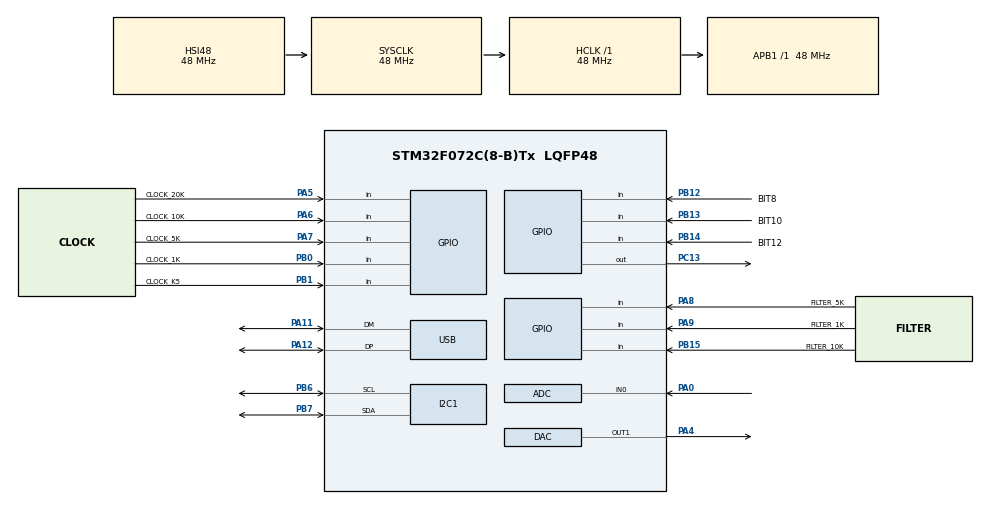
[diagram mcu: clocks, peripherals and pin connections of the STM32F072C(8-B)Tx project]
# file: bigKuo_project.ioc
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ADC.ClockPrescaler=ADC_CLOCK_SYNC_PCLK_DIV4
ADC.ContinuousConvMode=ENABLE
ADC.DMAContinuousRequests=DISABLE
ADC.DataAlign=ADC_DATAALIGN_RIGHT
ADC.DiscontinuousConvMode=DISABLE
ADC.EOCSelection=ADC_EOC_SINGLE_SEQ_CONV
ADC.EnableAnalogWatchDog=false
ADC.ExternalTrigConv=ADC_SOFTWARE_START
ADC.ExternalTrigConvEdge=ADC_EXTERNALTRIGCONVEDGE_NONE
ADC.LowPowerAutoPowerOff=DISABLE
ADC.LowPowerAutoWait=DISABLE
ADC.Overrun=ADC_OVR_DATA_OVERWRITTEN
ADC.Resolution=ADC_RESOLUTION_12B
ADC.SamplingTime=ADC_SAMPLETIME_239CYCLES_5
ADC.ScanConvMode=ADC_SCAN_DIRECTION_FORWARD
Dma.ADC.1.Direction=DMA_PERIPH_TO_MEMORY
Dma.ADC.1.Instance=DMA1_Channel1
Dma.ADC.1.MemDataAlignment=DMA_MDATAALIGN_HALFWORD
Dma.ADC.1.MemInc=DMA_MINC_ENABLE
Dma.ADC.1.Mode=DMA_NORMAL
Dma.ADC.1.PeriphDataAlignment=DMA_PDATAALIGN_HALFWORD
Dma.ADC.1.PeriphInc=DMA_PINC_DISABLE
Dma.ADC.1.Priority=DMA_PRIORITY_LOW
Dma.DAC_CH1.0.Direction=DMA_MEMORY_TO_PERIPH
Dma.DAC_CH1.0.Instance=DMA1_Channel3
Dma.DAC_CH1.0.MemDataAlignment=DMA_MDATAALIGN_HALFWORD
Dma.DAC_CH1.0.MemInc=DMA_MINC_ENABLE
Dma.DAC_CH1.0.Mode=DMA_NORMAL
Dma.DAC_CH1.0.PeriphDataAlignment=DMA_PDATAALIGN_HALFWORD
Dma.DAC_CH1.0.PeriphInc=DMA_PINC_DISABLE
Dma.DAC_CH1.0.Priority=DMA_PRIORITY_LOW
Dma.Request0=DAC_CH1
Dma.Request1=ADC
I2C1.Timing=0x2000090E
Mcu.Family=STM32F0
Mcu.Name=STM32F072C(8-B)Tx
Mcu.Package=LQFP48
NVIC.ADC1_COMP_IRQn=true\:0\:0\:false\:false\:true
NVIC.DMA1_Channel1_IRQn=true\:0\:0\:false\:false\:true
NVIC.DMA1_Channel2_3_IRQn=true\:0\:0\:false\:false\:true
NVIC.TIM6_DAC_IRQn=true\:0\:0\:false\:false\:true
NVIC.USB_IRQn=true\:0\:0\:false\:false\:true
PA0.Mode=IN0
PA0.Signal=ADC_IN0
PA11.Mode=Device
PA11.Signal=USB_DM
PA12.Mode=Device
PA12.Signal=USB_DP
PA13.Mode=Serial_Wire
PA13.Signal=SYS_SWDIO
PA14.Mode=Serial_Wire
PA14.Signal=SYS_SWCLK
PA4.Signal=COMP_DAC1_group
PA5.GPIO_Label=CLOCK_20K
PA5.GPIO_PuPd=GPIO_PULLDOWN
PA5.Signal=GPIO_Input
PA6.GPIO_Label=CLOCK_10K
PA6.GPIO_PuPd=GPIO_PULLDOWN
PA6.Signal=GPIO_Input
PA7.GPIO_Label=CLOCK_5K
PA7.GPIO_PuPd=GPIO_PULLDOWN
PA7.Signal=GPIO_Input
PA8.GPIO_Label=FILTER_5K
PA8.GPIO_PuPd=GPIO_PULLDOWN
PA8.Signal=GPIO_Input
PA9.GPIO_Label=FILTER_1K
PA9.GPIO_PuPd=GPIO_PULLDOWN
PA9.Signal=GPIO_Input
PB0.GPIO_Label=CLOCK_1K
PB0.GPIO_PuPd=GPIO_PULLDOWN
PB0.Signal=GPIO_Input
PB1.GPIO_Label=CLOCK_K5
PB1.GPIO_PuPd=GPIO_PULLDOWN
PB1.Signal=GPIO_Input
PB12.GPIO_Label=BIT8
PB12.GPIO_PuPd=GPIO_PULLDOWN
PB12.Signal=GPIO_Input
PB13.GPIO_Label=BIT10
PB13.GPIO_PuPd=GPIO_PULLDOWN
PB13.Signal=GPIO_Input
PB14.GPIO_Label=BIT12
PB14.GPIO_PuPd=GPIO_PULLDOWN
PB14.Signal=GPIO_Input
PB15.GPIO_Label=FILTER_10K
PB15.GPIO_PuPd=GPIO_PULLDOWN
PB15.Signal=GPIO_Input
PB6.Mode=I2C
PB6.Signal=I2C1_SCL
PB7.Mode=I2C
PB7.Signal=I2C1_SDA
PC13.Signal=GPIO_Output
PF0-OSC_IN.Mode=HSE-External-Oscillator
PF0-OSC_IN.Signal=RCC_OSC_IN
PF1-OSC_OUT.Mode=HSE-External-Oscillator
PF1-OSC_OUT.Signal=RCC_OSC_OUT
ProjectManager.HeapSize=0x200
ProjectManager.StackSize=0x400
ProjectManager.TargetToolchain=MDK-ARM V5
RCC.AHBCLKDivider=RCC_SYSCLK_DIV1
RCC.AHBFreq_Value=48000000
RCC.APB1CLKDivider=RCC_HCLK_DIV1
RCC.APB1Freq_Value=48000000
RCC.APB1TimFreq_Value=48000000
RCC.HCLKFreq_Value=48000000
RCC.OscillatorTypeHSI14=RCC_OSCILLATORTYPE_HSI14
RCC.PLLSourceVirtual=RCC_PLLSOURCE_HSI
RCC.SYSCLKFreq_VALUE=48000000
RCC.SYSCLKSource=RCC_SYSCLKSOURCE_HSI48
SH.COMP_DAC1_group.0=DAC_OUT1,DAC_OUT1
USB_DEVICE.CLASS_NAME_FS=CDC
USB_DEVICE.VirtualMode=Cdc
USB_DEVICE.VirtualModeFS=Cdc_FS
VP_USB_DEVICE_VS_USB_DEVICE_CDC_FS.Mode=CDC_FS
board=bigKuo_project

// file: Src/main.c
/**
  ******************************************************************************
  * File Name          : main.c
  * Description        : Main program body
  ******************************************************************************
  *
  * Copyright (c) 2017 STMicroelectronics International N.V.
  * All rights reserved.
  *
  * Redistribution and use in source and binary forms, with or without
  * modification, are permitted, provided that the following conditions are met:
  *
  * 1. Redistribution of source code must retain the above copyright notice,
  *    this list of conditions and the following disclaimer.
  * 2. Redistributions in binary form must reproduce the above copyright notice,
  *    this list of conditions and the following disclaimer in the documentation
  *    and/or other materials provided with the distribution.
  * 3. Neither the name of STMicroelectronics nor the names of other
  *    contributors to this software may be used to endorse or promote products
  *    derived from this software without specific written permission.
  * 4. This software, including modifications and/or derivative works of this
  *    software, must execute solely and exclusively on microcontroller or
  *    microprocessor devices manufactured by or for STMicroelectronics.
  * 5. Redistribution and use of this software other than as permitted under
  *    this license is void and will automatically terminate your rights under
  *    this license.
  *
  * THIS SOFTWARE IS PROVIDED BY STMICROELECTRONICS AND CONTRIBUTORS "AS IS"
  * AND ANY EXPRESS, IMPLIED OR STATUTORY WARRANTIES, INCLUDING, BUT NOT
  * LIMITED TO, THE IMPLIED WARRANTIES OF MERCHANTABILITY, FITNESS FOR A
  * PARTICULAR PURPOSE AND NON-INFRINGEMENT OF THIRD PARTY INTELLECTUAL PROPERTY
  * RIGHTS ARE DISCLAIMED TO THE FULLEST EXTENT PERMITTED BY LAW. IN NO EVENT
  * SHALL STMICROELECTRONICS OR CONTRIBUTORS BE LIABLE FOR ANY DIRECT, INDIRECT,
  * INCIDENTAL, SPECIAL, EXEMPLARY, OR CONSEQUENTIAL DAMAGES (INCLUDING, BUT NOT
  * LIMITED TO, PROCUREMENT OF SUBSTITUTE GOODS OR SERVICES; LOSS OF USE, DATA,
  * OR PROFITS; OR BUSINESS INTERRUPTION) HOWEVER CAUSED AND ON ANY THEORY OF
  * LIABILITY, WHETHER IN CONTRACT, STRICT LIABILITY, OR TORT (INCLUDING
  * NEGLIGENCE OR OTHERWISE) ARISING IN ANY WAY OUT OF THE USE OF THIS SOFTWARE,
  * EVEN IF ADVISED OF THE POSSIBILITY OF SUCH DAMAGE.
  *
  ******************************************************************************
  */
#include "main.h"
#include "stm32f0xx_hal.h"
#include "adc.h"
#include "dac.h"
#include "dma.h"
#include "i2c.h"
#include "usb_device.h"
#include "gpio.h"

/* USER CODE BEGIN Includes */
#include "usbd_cdc_if.h"
#include "key.h"
/* USER CODE END Includes */

/* USER CODE BEGIN PV */
/* Private variables ---------------------------------------------------------*/

/* USER CODE END PV */

void SystemClock_Config(void);
void Error_Handler(void);

/* USER CODE BEGIN PFP */
/* Private function prototypes -----------------------------------------------*/

/* USER CODE END PFP */

/* USER CODE BEGIN 0 */
uint16_t ADCReadings[2]; //ADC Readings
uint16_t ADCReadings_Bitshift; //ADC Readings
uint16_t ADCReadings_Filter; //ADC Readings
/* USER CODE END 0 */

int main(void)
{

  /* MCU Configuration----------------------------------------------------------*/

  /* Reset of all peripherals, Initializes the Flash interface and the Systick. */
  HAL_Init();

  /* Configure the system clock */
  SystemClock_Config();

  /* Initialize all configured peripherals */
  MX_GPIO_Init();
  MX_DMA_Init();
  MX_USB_DEVICE_Init();
  MX_ADC_Init();
  MX_DAC_Init();
  MX_I2C1_Init();

  /* USER CODE BEGIN 2 */
	char kMsg[200];
	uint8_t Key_mode = 0;

  /* USER CODE END 2 */

  /* Infinite loop */
  /* USER CODE BEGIN WHILE */
  while (1)
  {
		Key_mode = KEY_Scan(&ADC_Setting, 1);

		HAL_ADC_Start_DMA(&hadc, (uint32_t*) ADCReadings, 2);//start the DMA collecting the data
		ADCReadings_Bitshift = ADC_Bitshift(&ADC_Setting, (uint16_t)ADCReadings[0]);
		ADCReadings_Filter	 = ADC_Filter_Output(&ADC_Setting , ADCReadings_Bitshift);

		sprintf(kMsg,"A:%d, %d, %d M: %d %d %d %d\n", ADCReadings[0], ADCReadings_Bitshift, ADCReadings_Filter,
															Key_mode, ADC_Setting.ADC_clock, ADC_Setting.ADC_bit, ADC_Setting.ADC_filter);
		if(hUsbDeviceFS.dev_state == USBD_STATE_CONFIGURED) {CDC_Transmit_FS((uint8_t *)kMsg, strlen(kMsg));}
		HAL_Delay(500);
		HAL_GPIO_TogglePin(GPIOC, GPIO_PIN_13);
  /* USER CODE END WHILE */

  }

}

/** System Clock Configuration
*/
void SystemClock_Config(void)
{

  RCC_OscInitTypeDef RCC_OscInitStruct;
  RCC_ClkInitTypeDef RCC_ClkInitStruct;
  RCC_PeriphCLKInitTypeDef PeriphClkInit;

    /**Initializes the CPU, AHB and APB busses clocks
    */
  RCC_OscInitStruct.OscillatorType = RCC_OSCILLATORTYPE_HSI|RCC_OSCILLATORTYPE_HSI14
                              |RCC_OSCILLATORTYPE_HSI48;
  RCC_OscInitStruct.HSIState = RCC_HSI_ON;
  RCC_OscInitStruct.HSI48State = RCC_HSI48_ON;
  RCC_OscInitStruct.HSICalibrationValue = 16;
  RCC_OscInitStruct.PLL.PLLState = RCC_PLL_NONE;
  if (HAL_RCC_OscConfig(&RCC_OscInitStruct) != HAL_OK)
  {
    Error_Handler();
  }

    /**Initializes the CPU, AHB and APB busses clocks
    */
  RCC_ClkInitStruct.ClockType = RCC_CLOCKTYPE_HCLK|RCC_CLOCKTYPE_SYSCLK
                              |RCC_CLOCKTYPE_PCLK1;
  RCC_ClkInitStruct.SYSCLKSource = RCC_SYSCLKSOURCE_HSI48;
  RCC_ClkInitStruct.AHBCLKDivider = RCC_SYSCLK_DIV1;
  RCC_ClkInitStruct.APB1CLKDivider = RCC_HCLK_DIV1;

  if (HAL_RCC_ClockConfig(&RCC_ClkInitStruct, FLASH_LATENCY_1) != HAL_OK)
  {
    Error_Handler();
  }

  PeriphClkInit.PeriphClockSelection = RCC_PERIPHCLK_USB|RCC_PERIPHCLK_I2C1;
  PeriphClkInit.I2c1ClockSelection = RCC_I2C1CLKSOURCE_HSI;
  PeriphClkInit.UsbClockSelection = RCC_USBCLKSOURCE_HSI48;

  if (HAL_RCCEx_PeriphCLKConfig(&PeriphClkInit) != HAL_OK)
  {
    Error_Handler();
  }

    /**Configure the Systick interrupt time
    */
  HAL_SYSTICK_Config(HAL_RCC_GetHCLKFreq()/1000);

    /**Configure the Systick
    */
  HAL_SYSTICK_CLKSourceConfig(SYSTICK_CLKSOURCE_HCLK);

  /* SysTick_IRQn interrupt configuration */
  HAL_NVIC_SetPriority(SysTick_IRQn, 0, 0);
}

void Error_Handler(void)
{
  while(1)
  {
  }
}

/************************ (C) COPYRIGHT STMicroelectronics *****END OF FILE****/
